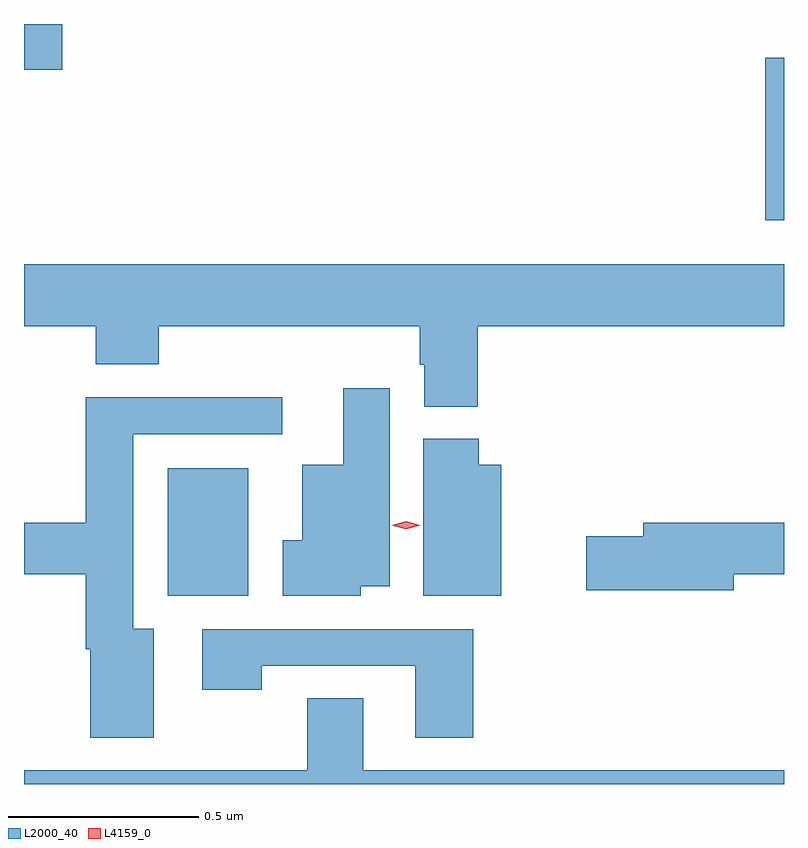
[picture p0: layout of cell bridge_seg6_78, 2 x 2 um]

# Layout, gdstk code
import gdstk
lib = gdstk.Library(unit=1e-6, precision=1e-09)
def R(c, l, rs):  # rectangles x0, y0, x1, y1
    for r in rs: c.add(gdstk.rectangle(r[:2], r[2:], *l))
def P(c, l, *ps):  # polygons
    for p in ps: c.add(gdstk.Polygon(p, *l))
L2000_40 = (2000, 40)
L4159_0 = (4159, 0)

bridge_seg6_78 = lib.new_cell('bridge_seg6_78')
R(bridge_seg6_78, L2000_40, [(826.016,953.288,826.228,953.623), (827.588,954.275,827.638,954.703), (825.638,954.671,825.739,954.792)])
P(bridge_seg6_78, L2000_40, [(826.832,953.996),(827.638,953.996),(827.638,954.16),(825.638,954.16),(825.638,953.996),(825.827,953.996),(825.827,953.897),(825.992,953.897),(825.992,953.996),(826.679,953.996),(826.679,953.895),(826.691,953.895),(826.691,953.785),(826.832,953.785)],
  [(826.524,953.312),(826.6,953.312),(826.6,953.833),(826.478,953.833),(826.478,953.632),(826.37,953.632),(826.37,953.434),(826.319,953.434),(826.319,953.288),(826.524,953.288)],
  [(825.979,953.2),(825.925,953.2),(825.925,953.712),(826.318,953.712),(826.318,953.81),(825.8,953.81),(825.8,953.48),(825.638,953.48),(825.638,953.344),(825.8,953.344),(825.8,953.147),(825.812,953.147),(825.812,952.914),(825.979,952.914)],
  [(826.894,953.632),(826.835,953.632),(826.835,953.7),(826.688,953.7),(826.688,953.288),(826.894,953.288)],
  [(827.506,953.344),(827.638,953.344),(827.638,953.48),(827.267,953.48),(827.267,953.444),(827.118,953.444),(827.118,953.302),(827.506,953.302)],
  [(826.82,953.199),(826.107,953.199),(826.107,953.04),(826.263,953.04),(826.263,953.103),(826.667,953.103),(826.667,952.914),(826.82,952.914)],
  [(827.638,952.828),(826.531,952.828),(826.531,953.018),(826.384,953.018),(826.384,952.828),(825.638,952.828),(825.638,952.792),(827.638,952.792)])
P(bridge_seg6_78, L4159_0, [(826.644,953.463),(826.606,953.473),(826.606,953.473),(826.606,953.473),(826.644,953.483),(826.681,953.473),(826.681,953.473),(826.681,953.473)])

lib.write_gds('bridge_seg6_78.gds')
